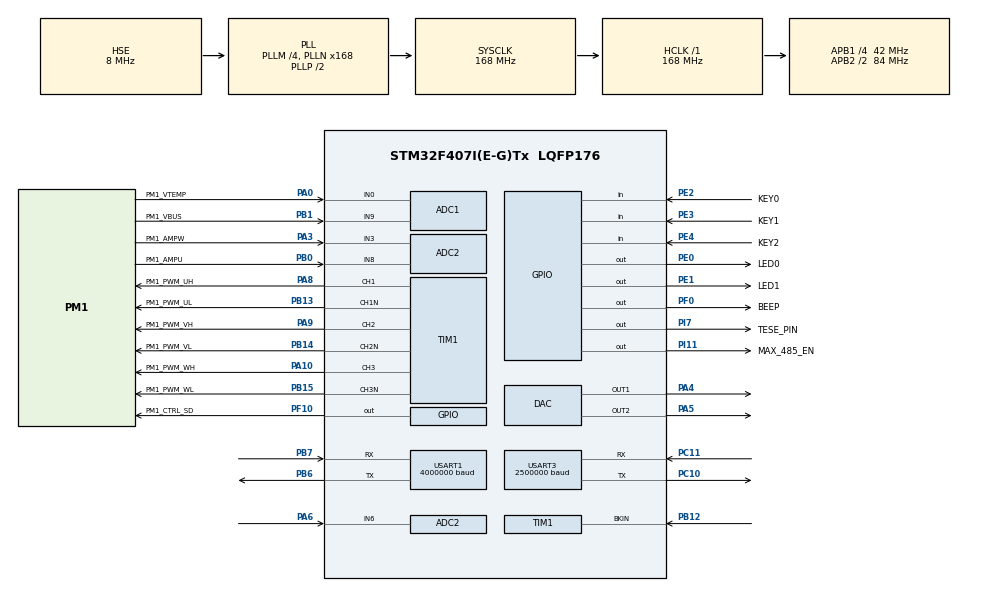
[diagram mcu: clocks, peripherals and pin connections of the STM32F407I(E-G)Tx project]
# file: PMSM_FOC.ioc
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ADC1.Channel-0\#ChannelRegularConversion=ADC_CHANNEL_0
ADC1.Channel-1\#ChannelRegularConversion=ADC_CHANNEL_9
ADC1.DMAContinuousRequests=ENABLE
ADC1.EOCSelection=ADC_EOC_SEQ_CONV
ADC1.ExternalTrigConv=ADC_EXTERNALTRIGCONV_T2_TRGO
ADC1.InjNumberOfConversion=0
ADC1.NbrOfConversion=2
ADC1.NbrOfConversionFlag=1
ADC1.Rank-0\#ChannelRegularConversion=1
ADC1.Rank-1\#ChannelRegularConversion=2
ADC1.SamplingTime-0\#ChannelRegularConversion=ADC_SAMPLETIME_15CYCLES
ADC1.SamplingTime-1\#ChannelRegularConversion=ADC_SAMPLETIME_15CYCLES
ADC1.ScanConvMode=ENABLE
ADC1.master=1
ADC2.Channel-0\#ChannelRegularConversion=ADC_CHANNEL_3
ADC2.Channel-1\#ChannelInjectedConversion=ADC_CHANNEL_3
ADC2.Channel-2\#ChannelInjectedConversion=ADC_CHANNEL_6
ADC2.Channel-3\#ChannelInjectedConversion=ADC_CHANNEL_8
ADC2.EOCSelection=ADC_EOC_SEQ_CONV
ADC2.ExternalTrigInjecConv=ADC_EXTERNALTRIGINJECCONV_T1_CC4
ADC2.ExternalTrigInjecConvEdge=ADC_EXTERNALTRIGINJECCONVEDGE_RISING
ADC2.InjNumberOfConversion=3
ADC2.InjectedOffset-1\#ChannelInjectedConversion=0
ADC2.InjectedOffset-2\#ChannelInjectedConversion=0
ADC2.InjectedOffset-3\#ChannelInjectedConversion=0
ADC2.InjectedRank-1\#ChannelInjectedConversion=1
ADC2.InjectedRank-2\#ChannelInjectedConversion=2
ADC2.InjectedRank-3\#ChannelInjectedConversion=3
ADC2.NbrOfConversion=1
ADC2.NbrOfConversionFlag=1
ADC2.Rank-0\#ChannelRegularConversion=1
ADC2.SamplingTime-0\#ChannelRegularConversion=ADC_SAMPLETIME_3CYCLES
ADC2.SamplingTime-1\#ChannelInjectedConversion=ADC_SAMPLETIME_15CYCLES
ADC2.SamplingTime-2\#ChannelInjectedConversion=ADC_SAMPLETIME_15CYCLES
ADC2.SamplingTime-3\#ChannelInjectedConversion=ADC_SAMPLETIME_15CYCLES
Dma.ADC1.0.Direction=DMA_PERIPH_TO_MEMORY
Dma.ADC1.0.FIFOMode=DMA_FIFOMODE_DISABLE
Dma.ADC1.0.Instance=DMA2_Stream0
Dma.ADC1.0.MemDataAlignment=DMA_MDATAALIGN_HALFWORD
Dma.ADC1.0.MemInc=DMA_MINC_ENABLE
Dma.ADC1.0.Mode=DMA_CIRCULAR
Dma.ADC1.0.PeriphDataAlignment=DMA_PDATAALIGN_HALFWORD
Dma.ADC1.0.PeriphInc=DMA_PINC_DISABLE
Dma.ADC1.0.Priority=DMA_PRIORITY_MEDIUM
Dma.Request0=ADC1
Dma.Request1=USART3_RX
Dma.Request2=USART1_TX
Dma.Request3=USART1_RX
Dma.Request4=USART3_TX
Dma.USART1_RX.3.Direction=DMA_PERIPH_TO_MEMORY
Dma.USART1_RX.3.FIFOMode=DMA_FIFOMODE_DISABLE
Dma.USART1_RX.3.Instance=DMA2_Stream2
Dma.USART1_RX.3.MemDataAlignment=DMA_MDATAALIGN_BYTE
Dma.USART1_RX.3.MemInc=DMA_MINC_ENABLE
Dma.USART1_RX.3.Mode=DMA_CIRCULAR
Dma.USART1_RX.3.PeriphDataAlignment=DMA_PDATAALIGN_BYTE
Dma.USART1_RX.3.PeriphInc=DMA_PINC_DISABLE
Dma.USART1_RX.3.Priority=DMA_PRIORITY_LOW
Dma.USART1_TX.2.Direction=DMA_MEMORY_TO_PERIPH
Dma.USART1_TX.2.FIFOMode=DMA_FIFOMODE_DISABLE
Dma.USART1_TX.2.Instance=DMA2_Stream7
Dma.USART1_TX.2.MemDataAlignment=DMA_MDATAALIGN_BYTE
Dma.USART1_TX.2.MemInc=DMA_MINC_ENABLE
Dma.USART1_TX.2.Mode=DMA_NORMAL
Dma.USART1_TX.2.PeriphDataAlignment=DMA_PDATAALIGN_BYTE
Dma.USART1_TX.2.PeriphInc=DMA_PINC_DISABLE
Dma.USART1_TX.2.Priority=DMA_PRIORITY_LOW
Dma.USART3_RX.1.Direction=DMA_PERIPH_TO_MEMORY
Dma.USART3_RX.1.FIFOMode=DMA_FIFOMODE_DISABLE
Dma.USART3_RX.1.Instance=DMA1_Stream1
Dma.USART3_RX.1.MemDataAlignment=DMA_MDATAALIGN_BYTE
Dma.USART3_RX.1.MemInc=DMA_MINC_ENABLE
Dma.USART3_RX.1.Mode=DMA_CIRCULAR
Dma.USART3_RX.1.PeriphDataAlignment=DMA_PDATAALIGN_BYTE
Dma.USART3_RX.1.PeriphInc=DMA_PINC_DISABLE
Dma.USART3_RX.1.Priority=DMA_PRIORITY_HIGH
Dma.USART3_TX.4.Direction=DMA_MEMORY_TO_PERIPH
Dma.USART3_TX.4.FIFOMode=DMA_FIFOMODE_DISABLE
Dma.USART3_TX.4.Instance=DMA1_Stream3
Dma.USART3_TX.4.MemDataAlignment=DMA_MDATAALIGN_BYTE
Dma.USART3_TX.4.MemInc=DMA_MINC_ENABLE
Dma.USART3_TX.4.Mode=DMA_NORMAL
Dma.USART3_TX.4.PeriphDataAlignment=DMA_PDATAALIGN_BYTE
Dma.USART3_TX.4.PeriphInc=DMA_PINC_DISABLE
Dma.USART3_TX.4.Priority=DMA_PRIORITY_MEDIUM
IWDG.Prescaler=IWDG_PRESCALER_4
IWDG.Reload=250-1
Mcu.Family=STM32F4
Mcu.Name=STM32F407I(E-G)Tx
Mcu.Package=LQFP176
Mcu.UserConstants=TIM_CLK_MHz,168;PWM_FREQUENCY,10000
NVIC.ADC_IRQn=true\:0\:0\:true\:false\:true\:true\:true\:true
NVIC.DMA1_Stream1_IRQn=true\:0\:0\:false\:false\:true\:false\:true\:true
NVIC.DMA1_Stream3_IRQn=true\:0\:0\:false\:false\:true\:false\:true\:true
NVIC.DMA2_Stream0_IRQn=true\:0\:0\:false\:false\:true\:false\:true\:true
NVIC.DMA2_Stream2_IRQn=true\:0\:0\:false\:false\:true\:false\:true\:true
NVIC.DMA2_Stream7_IRQn=true\:0\:0\:false\:false\:true\:false\:true\:true
NVIC.FPU_IRQn=true\:4\:0\:true\:false\:true\:true\:false\:true
NVIC.PriorityGroup=NVIC_PRIORITYGROUP_4
NVIC.TIM1_BRK_TIM9_IRQn=true\:4\:0\:true\:false\:true\:true\:true\:true
NVIC.TIM1_UP_TIM10_IRQn=true\:4\:0\:true\:false\:true\:true\:true\:true
NVIC.TIM6_DAC_IRQn=true\:2\:0\:true\:false\:true\:true\:true\:true
NVIC.USART1_IRQn=true\:3\:0\:true\:false\:true\:true\:true\:true
NVIC.USART3_IRQn=true\:1\:0\:true\:false\:true\:true\:true\:true
PA0-WKUP.GPIO_Label=PM1_VTEMP
PA0-WKUP.Signal=ADCx_IN0
PA10.GPIO_Label=PM1_PWM_WH
PA10.Signal=S_TIM1_CH3
PA13.Mode=Serial_Wire
PA13.Signal=SYS_JTMS-SWDIO
PA14.Mode=Serial_Wire
PA14.Signal=SYS_JTCK-SWCLK
PA3.GPIO_Label=PM1_AMPW
PA3.Signal=ADCx_IN3
PA4.Signal=COMP_DAC1_group
PA5.Signal=COMP_DAC2_group
PA6.Signal=ADCx_IN6
PA8.GPIO_Label=PM1_PWM_UH
PA8.Signal=S_TIM1_CH1
PA9.GPIO_Label=PM1_PWM_VH
PA9.Signal=S_TIM1_CH2
PB0.GPIO_Label=PM1_AMPU
PB0.Signal=ADCx_IN8
PB1.GPIO_Label=PM1_VBUS
PB1.Signal=ADCx_IN9
PB12.Mode=Activate-Break-Input
PB12.Signal=TIM1_BKIN
PB13.GPIO_Label=PM1_PWM_UL
PB13.Mode=PWM Generation1 CH1 CH1N
PB13.Signal=TIM1_CH1N
PB14.GPIO_Label=PM1_PWM_VL
PB14.Mode=PWM Generation2 CH2 CH2N
PB14.Signal=TIM1_CH2N
PB15.GPIO_Label=PM1_PWM_WL
PB15.Mode=PWM Generation3 CH3 CH3N
PB15.Signal=TIM1_CH3N
PB6.Mode=Asynchronous
PB6.Signal=USART1_TX
PB7.Mode=Asynchronous
PB7.Signal=USART1_RX
PB9.Signal=CAN1_TX
PC10.Mode=Asynchronous
PC10.Signal=USART3_TX
PC11.Mode=Asynchronous
PC11.Signal=USART3_RX
PC14-OSC32_IN.Mode=LSE-External-Oscillator
PC14-OSC32_IN.Signal=RCC_OSC32_IN
PC15-OSC32_OUT.Mode=LSE-External-Oscillator
PC15-OSC32_OUT.Signal=RCC_OSC32_OUT
PE0.GPIO_Label=LED0
PE0.PinState=GPIO_PIN_SET
PE0.Signal=GPIO_Output
PE1.GPIO_Label=LED1
PE1.PinState=GPIO_PIN_SET
PE1.Signal=GPIO_Output
PE2.GPIO_Label=KEY0
PE2.GPIO_PuPd=GPIO_PULLUP
PE2.Signal=GPIO_Input
PE3.GPIO_Label=KEY1
PE3.GPIO_PuPd=GPIO_PULLUP
PE3.Signal=GPIO_Input
PE4.GPIO_Label=KEY2
PE4.GPIO_PuPd=GPIO_PULLUP
PE4.Signal=GPIO_Input
PF0.GPIO_Label=BEEP
PF0.Signal=GPIO_Output
PF10.GPIO_Label=PM1_CTRL_SD
PF10.Signal=GPIO_Output
PH0-OSC_IN.Mode=HSE-External-Oscillator
PH0-OSC_IN.Signal=RCC_OSC_IN
PH1-OSC_OUT.Mode=HSE-External-Oscillator
PH1-OSC_OUT.Signal=RCC_OSC_OUT
PI11.GPIO_Label=MAX_485_EN
PI11.GPIO_Speed=GPIO_SPEED_FREQ_HIGH
PI11.Signal=GPIO_Output
PI7.GPIO_Label=TESE_PIN
PI7.GPIO_Speed=GPIO_SPEED_FREQ_HIGH
PI7.Signal=GPIO_Output
PI9.Signal=CAN1_RX
ProjectManager.HeapSize=0x200
ProjectManager.StackSize=0x400
ProjectManager.TargetToolchain=CMake
RCC.48MHZClocksFreq_Value=84000000
RCC.AHBFreq_Value=168000000
RCC.APB1CLKDivider=RCC_HCLK_DIV4
RCC.APB1Freq_Value=42000000
RCC.APB1TimFreq_Value=84000000
RCC.APB2CLKDivider=RCC_HCLK_DIV2
RCC.APB2Freq_Value=84000000
RCC.APB2TimFreq_Value=168000000
RCC.CortexFreq_Value=168000000
RCC.HCLKFreq_Value=168000000
RCC.HSE_VALUE=8000000
RCC.HSI_VALUE=16000000
RCC.PLLM=4
RCC.PLLN=168
RCC.PLLSourceVirtual=RCC_PLLSOURCE_HSE
RCC.SYSCLKFreq_VALUE=168000000
RCC.SYSCLKSource=RCC_SYSCLKSOURCE_PLLCLK
RCC.VCOOutputFreq_Value=336000000
SH.ADCx_IN0.0=ADC1_IN0,IN0
SH.ADCx_IN3.0=ADC2_IN3,IN3
SH.ADCx_IN6.0=ADC2_IN6,IN6
SH.ADCx_IN6.1=ADC1_IN6
SH.ADCx_IN8.0=ADC2_IN8,IN8
SH.ADCx_IN9.0=ADC1_IN9,IN9
SH.COMP_DAC1_group.0=DAC_OUT1,DAC_OUT1
SH.COMP_DAC2_group.0=DAC_OUT2,DAC_OUT2
SH.S_TIM1_CH1.0=TIM1_CH1,PWM Generation1 CH1 CH1N
SH.S_TIM1_CH2.0=TIM1_CH2,PWM Generation2 CH2 CH2N
SH.S_TIM1_CH3.0=TIM1_CH3,PWM Generation3 CH3 CH3N
TIM1.AutoReloadPreload=TIM_AUTORELOAD_PRELOAD_ENABLE
TIM1.AutomaticOutput=TIM_AUTOMATICOUTPUT_DISABLE
TIM1.BreakPolarity=TIM_BREAKPOLARITY_LOW
TIM1.BreakState=TIM_BREAK_DISABLE
TIM1.Channel-PWM\ Generation1\ CH1\ CH1N=TIM_CHANNEL_1
TIM1.Channel-PWM\ Generation2\ CH2\ CH2N=TIM_CHANNEL_2
TIM1.Channel-PWM\ Generation3\ CH3\ CH3N=TIM_CHANNEL_3
TIM1.Channel-PWM\ Generation4\ No\ Output=TIM_CHANNEL_4
TIM1.CounterMode=TIM_COUNTERMODE_CENTERALIGNED1
TIM1.DeadTime=84
TIM1.LockLevel=TIM_LOCKLEVEL_1
TIM1.OCMode_PWM-PWM\ Generation4\ No\ Output=TIM_OCMODE_PWM2
TIM1.OffStateIDLEMode=TIM_OSSI_ENABLE
TIM1.OffStateRunMode=TIM_OSSR_ENABLE
TIM1.Period=TIM_CLK_MHz*1000000/PWM_FREQUENCY/2
TIM1.Pulse-PWM\ Generation1\ CH1\ CH1N=0
TIM1.Pulse-PWM\ Generation2\ CH2\ CH2N=0
TIM1.Pulse-PWM\ Generation3\ CH3\ CH3N=0
TIM1.Pulse-PWM\ Generation4\ No\ Output=8400-2
TIM1.RepetitionCounter=1
TIM2.Period=99
TIM2.Prescaler=8399
TIM2.TIM_MasterOutputTrigger=TIM_TRGO_UPDATE
TIM6.Period=9
TIM6.Prescaler=8399
USART1.BaudRate=4000000
USART1.VirtualMode=VM_ASYNC
USART3.BaudRate=2500000
USART3.VirtualMode=VM_ASYNC
VP_IWDG_VS_IWDG.Mode=IWDG_Activate
VP_TIM1_VS_ClockSourceINT.Mode=Internal
VP_TIM1_VS_no_output4.Mode=PWM Generation4 No Output
VP_TIM2_VS_ClockSourceINT.Mode=Internal
VP_TIM6_VS_ClockSourceINT.Mode=Enable_Timer
board=custom

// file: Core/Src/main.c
/* USER CODE BEGIN Header */
/**
  ******************************************************************************
  * @file           : main.c
  * @brief          : Main program body
  ******************************************************************************
  * @attention
  *
  * Copyright (c) 2026 STMicroelectronics.
  * All rights reserved.
  *
  * This software is licensed under terms that can be found in the LICENSE file
  * in the root directory of this software component.
  * If no LICENSE file comes with this software, it is provided AS-IS.
  *
  ******************************************************************************
  */
/* USER CODE END Header */
#include "main.h"
#include "adc.h"
#include "dac.h"
#include "dma.h"
#include "iwdg.h"
#include "tim.h"
#include "usart.h"
#include "gpio.h"

/* USER CODE BEGIN Includes */
#include "Board_Dac.h"
#include "System.h"
#include "Motor.h"
#include "Key.h"
#include "Led.h"
#include "MotorApp.h"
#include "Board_Adc.h"
#include "Com.h"
#include "Board_485.h"
#include "Sensor_Tamagawa.h"
/* USER CODE END Includes */

void SystemClock_Config(void);

int main(void)
{

  /* MCU Configuration--------------------------------------------------------*/

  /* Reset of all peripherals, Initializes the Flash interface and the Systick. */
  HAL_Init();

  /* Configure the system clock */
  SystemClock_Config();

  /* Initialize all configured peripherals */
  MX_GPIO_Init();
  MX_DMA_Init();
  MX_TIM1_Init();
  MX_IWDG_Init();
  MX_ADC1_Init();
  MX_ADC2_Init();
  MX_USART1_UART_Init();
  MX_USART3_UART_Init();
  MX_DAC_Init();
  MX_TIM6_Init();
  MX_TIM2_Init();
  /* USER CODE BEGIN 2 */
  /* 硬件板级初始化 */
  Board_Dac_Init();
  Adc_Init();
  Com_Uart_Init(&huart1);
  Rs485_Init();
  Sensor_Tamagawa_Init();
  /* 用户层初始化 */
  Key_Init();
  Led_Init();
  MotorApp_Init();
  System_Init();
  Motor_Init();
  /* USER CODE END 2 */

  /* Infinite loop */
  while (1)
  {

    /* USER CODE BEGIN 3 */
    System_MainFunction();
  }
  /* USER CODE END 3 */
}

void SystemClock_Config(void)
{
  RCC_OscInitTypeDef RCC_OscInitStruct = {0};
  RCC_ClkInitTypeDef RCC_ClkInitStruct = {0};

  /** Configure the main internal regulator output voltage
  */
  __HAL_RCC_PWR_CLK_ENABLE();
  __HAL_PWR_VOLTAGESCALING_CONFIG(PWR_REGULATOR_VOLTAGE_SCALE1);

  /** Initializes the RCC Oscillators according to the specified parameters
  * in the RCC_OscInitTypeDef structure.
  */
  RCC_OscInitStruct.OscillatorType = RCC_OSCILLATORTYPE_LSI|RCC_OSCILLATORTYPE_HSE;
  RCC_OscInitStruct.HSEState = RCC_HSE_ON;
  RCC_OscInitStruct.LSIState = RCC_LSI_ON;
  RCC_OscInitStruct.PLL.PLLState = RCC_PLL_ON;
  RCC_OscInitStruct.PLL.PLLSource = RCC_PLLSOURCE_HSE;
  RCC_OscInitStruct.PLL.PLLM = 4;
  RCC_OscInitStruct.PLL.PLLN = 168;
  RCC_OscInitStruct.PLL.PLLP = RCC_PLLP_DIV2;
  RCC_OscInitStruct.PLL.PLLQ = 4;
  if (HAL_RCC_OscConfig(&RCC_OscInitStruct) != HAL_OK)
  {
    Error_Handler();
  }

  /** Initializes the CPU, AHB and APB buses clocks
  */
  RCC_ClkInitStruct.ClockType = RCC_CLOCKTYPE_HCLK|RCC_CLOCKTYPE_SYSCLK
                              |RCC_CLOCKTYPE_PCLK1|RCC_CLOCKTYPE_PCLK2;
  RCC_ClkInitStruct.SYSCLKSource = RCC_SYSCLKSOURCE_PLLCLK;
  RCC_ClkInitStruct.AHBCLKDivider = RCC_SYSCLK_DIV1;
  RCC_ClkInitStruct.APB1CLKDivider = RCC_HCLK_DIV4;
  RCC_ClkInitStruct.APB2CLKDivider = RCC_HCLK_DIV2;

  if (HAL_RCC_ClockConfig(&RCC_ClkInitStruct, FLASH_LATENCY_5) != HAL_OK)
  {
    Error_Handler();
  }
}

void Error_Handler(void)
{
  __disable_irq();
  while (1)
  {
  }
}
